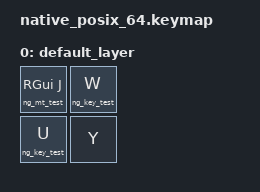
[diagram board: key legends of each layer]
#include <dt-bindings/zmk/keys.h>
#include <dt-bindings/zmk/kscan_mock.h>
#include <behaviors.dtsi>
#include <behaviors/naginata.dtsi>

/ {
    behaviors {
        ng_key_test: ng_key_test {
            compatible = "zmk,behavior-naginata-key";
            #binding-cells = <1>;
            binding = <&ng>;
            shortcut-binding = <&kp>;
            shortcut-key-position = <2>;
            shortcut-keycode = <BSPC>;
        };

        ng_mt_test: ng_mt_test {
            compatible = "zmk,behavior-naginata-hold-tap";
            #binding-cells = <2>;
            bindings = <&kp>, <&ng>;
            shortcut-binding = <&kp>;
            tapping-term-ms = <100>;
            hold-trigger-key-positions = <1 2>;
        };
    };

    keymap {
        compatible = "zmk,keymap";

        default_layer {
            bindings = <
                &ng_mt_test RGUI J  &ng_key_test W
                &ng_key_test U       &kp Y
            >;
        };
    };
};

&kscan {
    events = <
        ZMK_MOCK_PRESS(0, 0, 10)
        ZMK_MOCK_PRESS(0, 1, 150)
        ZMK_MOCK_RELEASE(0, 1, 10)
        ZMK_MOCK_RELEASE(0, 0, 10)

        ZMK_MOCK_PRESS(0, 0, 100)
        ZMK_MOCK_PRESS(1, 0, 150)
        ZMK_MOCK_RELEASE(1, 0, 10)
        ZMK_MOCK_RELEASE(0, 0, 10)
    >;
};
